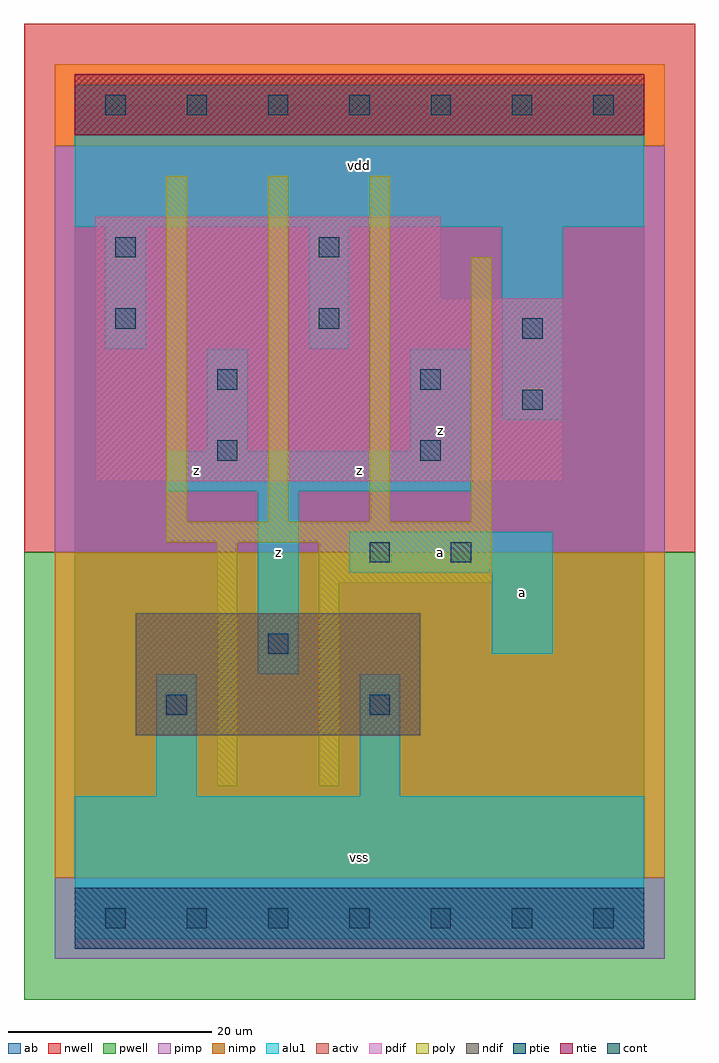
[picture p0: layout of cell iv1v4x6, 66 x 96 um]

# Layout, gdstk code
import gdstk
lib = gdstk.Library(unit=1e-6, precision=1e-09)
def R(c, l, rs):  # rectangles x0, y0, x1, y1
    for r in rs: c.add(gdstk.rectangle(r[:2], r[2:], *l))
def A(c, l, x, y, w, h, nx, ny, dx, dy):  # array of equal rectangles
    R(c, l, [(x+i*dx, y+j*dy, x+i*dx+w, y+j*dy+h) for i in range(nx) for j in range(ny)])
ndif = (3, 0)
pdif = (4, 0)
ntie = (5, 0)
ptie = (6, 0)
cont = (25, 0)
pwell = (41, 0)
nwell = (42, 0)
activ = (43, 0)
pimp = (44, 0)
nimp = (45, 0)
poly = (46, 0)
alu1 = (49, 0)
ab = (63, 0)

iv1v4x6 = lib.new_cell('iv1v4x6')
R(iv1v4x6, ndif, [(6,18,34,30)])
R(iv1v4x6, pdif, [(2,43,48,61), (2,61,36,69)])
R(iv1v4x6, ntie, [(0,77,56,83)])
R(iv1v4x6, ptie, [(0,-3,56,3)])
A(iv1v4x6, cont, 3, -1, 2, 2, 7, 2, 8, 80)
R(iv1v4x6, cont, [(9,20,11,22), (29,20,31,22), (19,26,21,28), (29,35,31,37), (37,35,39,37), (14,45,16,47), (34,45,36,47), (44,50,46,52), (14,52,16,54), (34,52,36,54), (44,57,46,59), (4,58,6,60), (24,58,26,60), (4,65,6,67), (24,65,26,67)])
R(iv1v4x6, pwell, [(-5,-8,61,36)])
R(iv1v4x6, nwell, [(-5,36,61,88)])
R(iv1v4x6, activ, [(0,-3,56,3), (6,18,34,30), (2,43,48,61), (2,61,36,69), (0,77,56,83)])
R(iv1v4x6, pimp, [(-2,-4,58,4), (-2,36,58,76)])
R(iv1v4x6, nimp, [(-2,4,58,36), (-2,76,58,84)])
A(iv1v4x6, poly, 9, 39, 2, 34, 3, 1, 10, 0)
R(iv1v4x6, poly, [(14,13,16,37), (24,13,26,33), (24,33,41,37), (9,37,41,39), (39,39,41,65)])
R(iv1v4x6, alu1, [(0,-2,56,12), (8,12,12,24), (28,12,32,24), (18,24,22,42), (41,26,47,34), (27,34,47,38), (9,42,39,46), (13,46,17,56), (33,46,39,56), (42,49,48,68), (3,56,7,68), (23,56,27,68), (0,68,56,82)])
R(iv1v4x6, ab, [(0,0,56,80)])
iv1v4x6.add(gdstk.Label('z', (20,36), layer=49, texttype=0))
iv1v4x6.add(gdstk.Label('z', (12,44), layer=49, texttype=0))
iv1v4x6.add(gdstk.Label('vss', (28,6), layer=49, texttype=0))
iv1v4x6.add(gdstk.Label('a', (36,36), layer=49, texttype=0))
iv1v4x6.add(gdstk.Label('z', (28,44), layer=49, texttype=0))
iv1v4x6.add(gdstk.Label('z', (36,48), layer=49, texttype=0))
iv1v4x6.add(gdstk.Label('vdd', (28,74), layer=49, texttype=0))
iv1v4x6.add(gdstk.Label('a', (44,32), layer=49, texttype=0))

lib.write_gds('iv1v4x6.gds')
